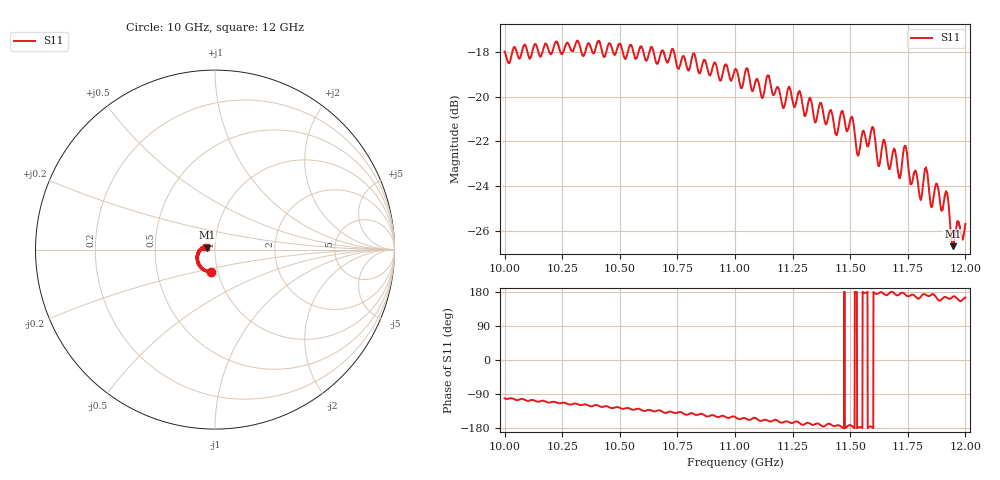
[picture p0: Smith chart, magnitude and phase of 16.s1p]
[Version] 2.0
! Rohde & Schwarz Vector Network Analyzer
! Rohde-Schwarz,ZNL20-2Port,1323001220200009,1.71.1.10-23.02.1.238
! Port Assignments:
! Nominal Port -> Actual Test Port
!  1 -> 1
! Created: GMT 2024-09-04 10:37:28
# Hz S DB R 50
[Number of Ports] 1
! freq[Hz]  S11[mag dB]  S11[ang]
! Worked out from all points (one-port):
!   2001 points, 10 GHz to 12 GHz, reference 50 ohm
!   lowest |S11| = -26.7 dB at 11.95 GHz (marker M1), VSWR 1.10, Z = 45.7 + j0.959 ohm
!   |S11| at or under -10 dB: start of sweep to end of sweep
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[Number of Frequencies] 28
[Network Data]
1e10  -17.99 -101.2
1.025e10  -18.07 -113.1
1.05e10  -17.63 -126.2
1.0729e10  -17.87 -137.7
1.075e10  -18.70 -139.2
1.1e10  -18.77 -150.1
1.125e10  -20.20 -165.9
1.1326e10  -20.08 -168.1
1.1349e10  -21.16 -169.1
1.1373e10  -20.29 -172.5
1.144e10  -21.72 -173.1
1.1464e10  -20.65 -177.3
1.15e10  -21.05 -171.7
1.1534e10  -22.63 -178.8
1.1597e10  -21.39 -178.1
1.1623e10  -23.10 176.6
1.1646e10  -21.94 174.7
1.1713e10  -23.63 172.7
1.1736e10  -22.20 174.3
1.175e10  -22.87 168.4
1.1805e10  -24.60 165.9
1.1828e10  -23.18 172.2
1.1853e10  -24.91 172.6
1.1874e10  -23.89 164.9
1.1897e10  -25.11 160.4
1.1918e10  -24.26 165.2
1.1945e10  -26.68 166.9
1.2e10  -25.68 164.6
[End]
